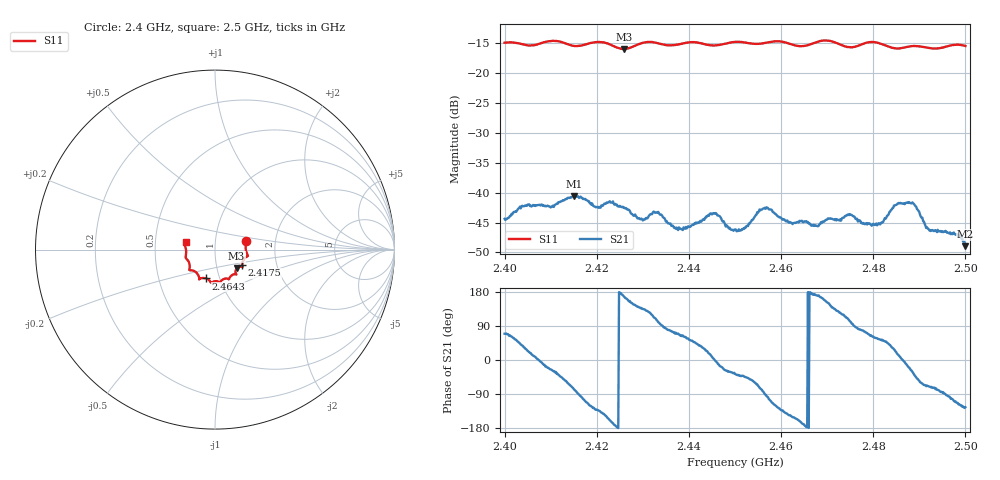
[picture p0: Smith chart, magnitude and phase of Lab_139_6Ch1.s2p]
# Hz S RI R 50
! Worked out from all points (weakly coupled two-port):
!   601 points, 2.4 GHz to 2.5 GHz, reference 50 ohm
!   highest |S21| = -40.56 dB at 2.415 GHz (marker M1); lowest = -48.9 dB at 2.5 GHz (marker M2)
!   lowest |S11| = -15.9 dB at 2.426 GHz (marker M3), VSWR 1.38, Z = 62.1 - j13.4 ohm
!   |S11| at or under -10 dB: start of sweep to end of sweep
!   S12 and S22 are empty: the file has one direction only
!   S11 on the Smith chart (normalised r, x): 2.4 GHz: 1.41, +0.14; 2.4175 GHz: 1.34, -0.23; 2.4643 GHz: 0.86, -0.29; 2.5 GHz: 0.72, +0.06
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2.4e9  0.1734 0.0486  0.00213 0.00566  0 0  0 0
2.404167e9  0.172 0.0233  0.00646 0.00424  0 0  0 0
2.410167e9  0.1833 -0.0337  0.0069 -0.00332  0 0  0 0
2.415e9  0.1599 -0.0555  0.00219 -0.00912  0 0  0 0
2.416667e9  0.1533 -0.0748  -0.0012 -0.00901  0 0  0 0
2.4175e9  0.1521 -0.0842  -0.00286 -0.00841  0 0  0 0
2.426e9  0.1202 -0.1049  -0.0073 0.00175  0 0  0 0
2.429833e9  0.117 -0.1354  -0.00426 0.00424  0 0  0 0
2.433333e9  0.1131 -0.1374  -0.00119 0.00681  0 0  0 0
2.438167e9  0.0818 -0.1556  0.00221 0.0045  0 0  0 0
2.445667e9  0.0502 -0.1635  0.00666 -0.000162  0 0  0 0
2.45e9  0.0287 -0.1809  0.00396 -0.00294  0 0  0 0
2.456667e9  -0.0115 -0.1794  -0.000204 -0.00734  0 0  0 0
2.464333e9  -0.05 -0.1609  -0.00559 -0.00156  0 0  0 0
2.466667e9  -0.0763 -0.1592  -0.00535 0.000376  0 0  0 0
2.474833e9  -0.1044 -0.1278  -0.00154 0.00632  0 0  0 0
2.480667e9  -0.1431 -0.111  0.00294 0.00469  0 0  0 0
2.483333e9  -0.1406 -0.09  0.00484 0.00447  0 0  0 0
2.488333e9  -0.1615 -0.0482  0.0072 -0.00382  0 0  0 0
2.492e9  -0.1609 -0.0254  0.00176 -0.00467  0 0  0 0
2.497833e9  -0.1702 0.0317  -0.00147 -0.00426  0 0  0 0
2.5e9  -0.1637 0.0427  -0.00203 -0.00294  0 0  0 0
